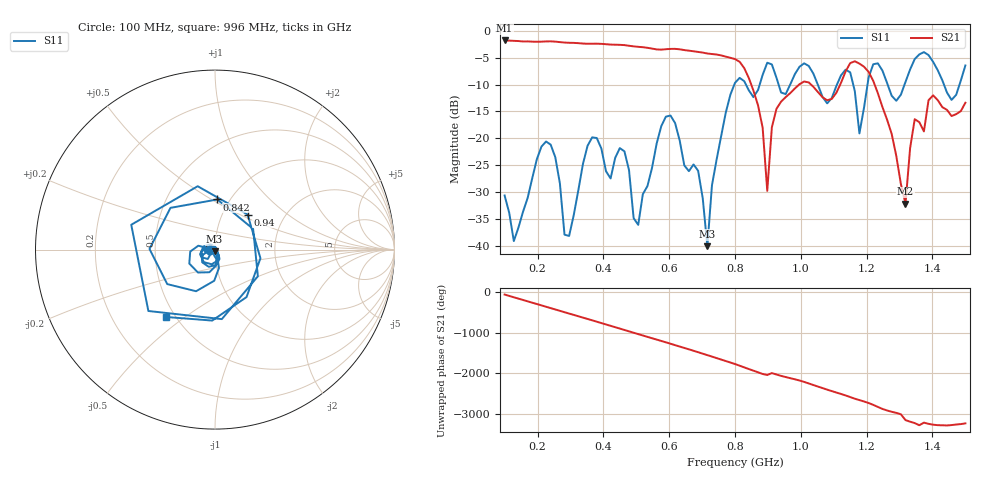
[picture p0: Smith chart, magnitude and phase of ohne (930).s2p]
! NanoVNA-App
! Date: 2025-09-25 14:28:02
! Start: 100MHz Stop: 1,5GHz Points: 101
! S-Parameter data: F S11 S21 S12 S22
# Hz S RI R 50
!  Frequency  S11_Real  S11_Imag  S21_Real  S21_Imag  S12_Real  S12_Imag  S22_Real  S22_Imag
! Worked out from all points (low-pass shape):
!   101 points, 100 MHz to 1.5 GHz, reference 50 ohm
!   highest |S21| = -1.79 dB at 100 MHz (marker M1); lowest = -32.1 dB at 1.318 GHz (marker M2)
!   |S21| within 3 dB of the highest: start of sweep to 771.1 MHz
!   lowest |S11| = -40.1 dB at 716 MHz (marker M3), VSWR 1.02, Z = 49.8 - j0.963 ohm
!   |S11| at or under -10 dB: start of sweep to 797.9 MHz; 833.2 MHz to 875 MHz (41.85 MHz wide, 4.9 % of centre); 1.052 GHz to 1.11 GHz (58.3 MHz wide, 5.39 % of centre) (the widest 3 of 7)
!   S12 and S22 are empty: the file has one direction only
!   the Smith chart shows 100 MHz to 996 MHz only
!   S11 on the Smith chart (normalised r, x): 100 MHz: 0.94, -0.01; 842 MHz: 0.88, +0.53; 940 MHz: 1.31, +0.55; 996 MHz: 0.45, -0.43
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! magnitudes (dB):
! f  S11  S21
! 100 MHz  -30.6  -1.8
! 128 MHz  -39.1  -1.9
! 226 MHz  -20.6  -2.0
! 296 MHz  -38.2  -2.2
! 338 MHz  -24.8  -2.4
! 464 MHz  -22.4  -2.7
! 506 MHz  -36.1  -3.0
! 576 MHz  -17.7  -3.5
! 688 MHz  -26.0  -3.9
! 716 MHz  -40.1  -4.2
! 800 MHz  -9.7  -5.3
! 842 MHz  -11.1  -8.8
! 898 MHz  -5.9  -29.8
! 940 MHz  -11.5  -13.2
! 996 MHz  -6.7  -9.9
! 1.038 GHz  -7.9  -10.4
! 1.178 GHz  -19.1  -6.1
! 1.22 GHz  -6.2  -9.3
! 1.276 GHz  -12.1  -19.2
! 1.318 GHz  -9.5  -32.1
! 1.346 GHz  -5.3  -16.4
! 1.5 GHz  -6.4  -13.4
